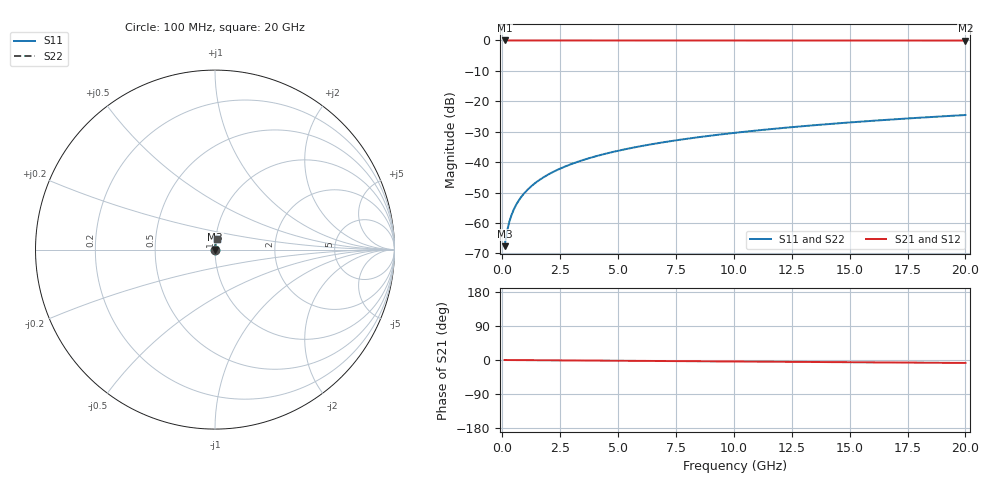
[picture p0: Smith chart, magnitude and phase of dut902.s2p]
! Touchstone file exported from HFSS 2026.1.0
!  File:  C:/ffzhzh/LocalFiles/Ansys_Project_Files/temp_train_TSV_902_1783186191_43440.aedt
!  Generated:  01:31:30 AM Jul  5, 2026
!  Design:  TSV
!  Project:  temp_train_TSV_902_1783186191_43440
! Variables:
!  h_bsmrdl = 2um
!  h_ox = 20um
!  h_rdl = 5um
!  h_sub = 65.62um
!  h_tmrdl = 5um
!  h_tsv = 65.62um
!  h_via = 3um
!  l_bsmrdl = 300um
!  l_sub = 411.98um
!  l_tmrdl = 200um
!  m_sub = 200um
!  pitch = 46.15um
!  r_tsv = 5.99um
!  s_tmrdl = 10um
!  w_bsmrdl = 18um
!  w_sub = 500um
!  w_tmrdl = 12um
!  x_tsv_center1 = 206um
!  x_tsv_center2 = 524um
!  x_tsv_center3 = 736um
!  x_tsv_center4 = 1054um
!  x_tsv_center5 = 1266um
!  x_tsv_center6 = 1584um
# GHz S MA R 50.000000
! Terminal data exported
! Port[1] = TSV1_1_T1
! Port[2] = TSV1_1_T2
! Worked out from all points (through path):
!   200 points, 100 MHz to 20 GHz, reference 50 ohm
!   highest |S21| = 0.00 dB at 100 MHz (marker M1); lowest = 0.0 dB at 20 GHz (marker M2)
!   group delay of S21, straight-line fit = 1.08 ps
!   lowest |S11| = -67.6 dB at 100 MHz (marker M3), VSWR 1.00, Z = 50 + j0.0336 ohm
!   |S11| at or under -10 dB: start of sweep to end of sweep
!   |S22| runs from -67.6 to -24.5 dB; largest |S21 - S12| = 4.2e-15
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0.1  0.000415 54.0  0.9998 -0.0  0.9998 -0.0  0.000415 54.0
! Gamma 0 0 0 0
! Port Impedance 50 0 50 0
0.2  0.0007158 69.3  0.9997 -0.1  0.9997 -0.1  0.0007158 69.3
0.3  0.001035 75.0  0.9997 -0.1  0.9997 -0.1  0.001035 75.0
0.4  0.001356 77.8  0.9997 -0.2  0.9997 -0.2  0.001356 77.8
0.5  0.001676 79.5  0.9997 -0.2  0.9997 -0.2  0.001676 79.5
0.6  0.001993 80.6  0.9997 -0.2  0.9997 -0.2  0.001993 80.6
0.7  0.002307 81.3  0.9997 -0.3  0.9997 -0.3  0.002307 81.3
0.8  0.002619 81.9  0.9996 -0.3  0.9996 -0.3  0.002619 81.9
1  0.003238 82.8  0.9996 -0.4  0.9996 -0.4  0.003238 82.8
1.4  0.004466 83.9  0.9996 -0.6  0.9996 -0.6  0.004466 83.9
1.7  0.005384 84.4  0.9995 -0.7  0.9995 -0.7  0.005384 84.4
2  0.0063 84.7  0.9995 -0.8  0.9995 -0.8  0.0063 84.7
2.7  0.008432 85.1  0.9994 -1.1  0.9994 -1.1  0.008432 85.1
3.5  0.01085 85.2  0.9993 -1.4  0.9993 -1.4  0.01085 85.2
4.2  0.01296 85.2  0.9992 -1.7  0.9992 -1.7  0.01296 85.2
5  0.01536 85.1  0.9991 -2.0  0.9991 -2.0  0.01536 85.1
6.8  0.02072 84.8  0.9989 -2.7  0.9989 -2.7  0.02072 84.8
8.3  0.02517 84.4  0.9987 -3.3  0.9987 -3.3  0.02517 84.4
10.1  0.03048 84.0  0.9984 -4.0  0.9984 -4.0  0.03048 84.0
13.4  0.04019 83.0  0.9979 -5.2  0.9979 -5.2  0.04019 83.0
16.7  0.04985 81.9  0.9974 -6.5  0.9974 -6.5  0.04985 81.9
20  0.05943 80.7  0.9967 -7.8  0.9967 -7.8  0.05943 80.7
